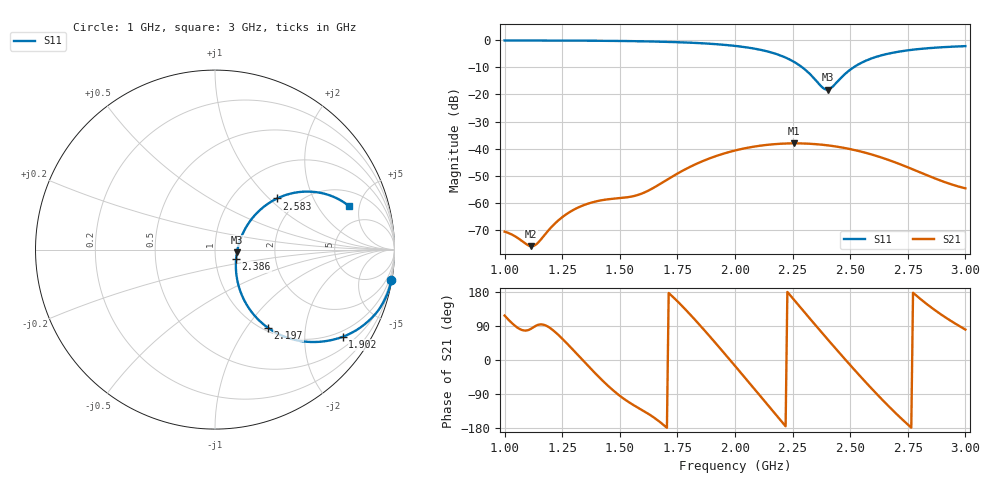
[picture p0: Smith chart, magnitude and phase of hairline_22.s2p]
! TOUCHSTONE file generated by CST MICROWAVE STUDIO
! Date and time: Tue Mar 18 20:31:44 2025
! Project name: hairline.cst
! Parameters = {B=12.5; D=160; F=25; Feed=2.85625; Fracture=0.5; L=100; M=50; R=0.384908; S=1.5; Theta=90; length=57.125; wave=114.25}
! Header version: 2024
! Port assignment regex: !\s*Touchstone port\s*([0-9]+)\s*=\s*(CST MWS port|CST DES external port|CST DES block port)\s*(.+)\s* \(\"(.*)\"\)(\s*mode\s*([0-9]+))?.*
! Touchstone port assignment:
! Touchstone port 1 = CST MWS port 1 ("")
! Touchstone port 2 = CST MWS port 2 ("")
# GHz S DB R 50
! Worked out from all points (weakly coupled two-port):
!   265 points, 1 GHz to 3 GHz, reference 50 ohm
!   highest |S21| = -38.07 dB at 2.258 GHz (marker M1); lowest = -76.1 dB at 1.114 GHz (marker M2)
!   lowest |S11| = -18.2 dB at 2.402 GHz (marker M3), VSWR 1.28, Z = 63.9 - j1.94 ohm
!   |S11| at or under -10 dB: 2.292 GHz to 2.514 GHz (221.6 MHz wide, 9.22 % of centre)
!   S12 and S22 are empty: the file has one direction only
!   S11 on the Smith chart (normalised r, x): 1 GHz: 0, -12; 1.902 GHz: 0.81, -3.04; 2.197 GHz: 1.05, -1.27; 2.386 GHz: 1.26, -0.13; 2.583 GHz: 1.57, +1.12; 3 GHz: 3.09, +3.92
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1  -0.02 -9.8  -70.73 117.3  -200.00 0.0  -200.00 0.0
1.11364  -0.03 -11.4  -76.10 82.1  -200.00 0.0  -200.00 0.0
1.14394  -0.04 -11.8  -74.91 92.5  -200.00 0.0  -200.00 0.0
1.25  -0.06 -13.6  -65.39 56.4  -200.00 0.0  -200.00 0.0
1.34091  -0.10 -15.4  -61.01 -1.7  -200.00 0.0  -200.00 0.0
1.41667  -0.14 -17.0  -59.18 -49.4  -200.00 0.0  -200.00 0.0
1.56818  -0.28 -21.0  -57.41 -122.1  -200.00 0.0  -200.00 0.0
1.66667  -0.46 -24.1  -53.51 -160.0  -200.00 0.0  -200.00 0.0
1.79545  -0.81 -29.1  -47.17 126.6  -200.00 0.0  -200.00 0.0
1.90152  -1.29 -34.3  -43.26 54.6  -200.00 0.0  -200.00 0.0
2  -2.03 -40.3  -40.72 -15.5  -200.00 0.0  -200.00 0.0
2.10606  -3.40 -48.2  -38.98 -92.3  -200.00 0.0  -200.00 0.0
2.19697  -5.57 -55.8  -38.23 -158.4  -200.00 0.0  -200.00 0.0
2.25758  -8.00 -59.7  -38.07 157.7  -200.00 0.0  -200.00 0.0
2.34091  -13.83 -52.9  -38.31 97.9  -200.00 0.0  -200.00 0.0
2.38636  -17.83 -23.6  -38.66 65.6  -200.00 0.0  -200.00 0.0
2.40152  -18.18 -7.0  -38.81 54.9  -200.00 0.0  -200.00 0.0
2.50758  -10.37 41.0  -40.34 -18.6  -200.00 0.0  -200.00 0.0
2.58333  -6.97 39.5  -41.95 -69.1  -200.00 0.0  -200.00 0.0
2.66667  -4.88 34.3  -44.22 -121.9  -200.00 0.0  -200.00 0.0
2.81818  -3.03 25.4  -49.33 154.4  -200.00 0.0  -200.00 0.0
3  -2.12 18.1  -54.71 80.3  -200.00 0.0  -200.00 0.0
